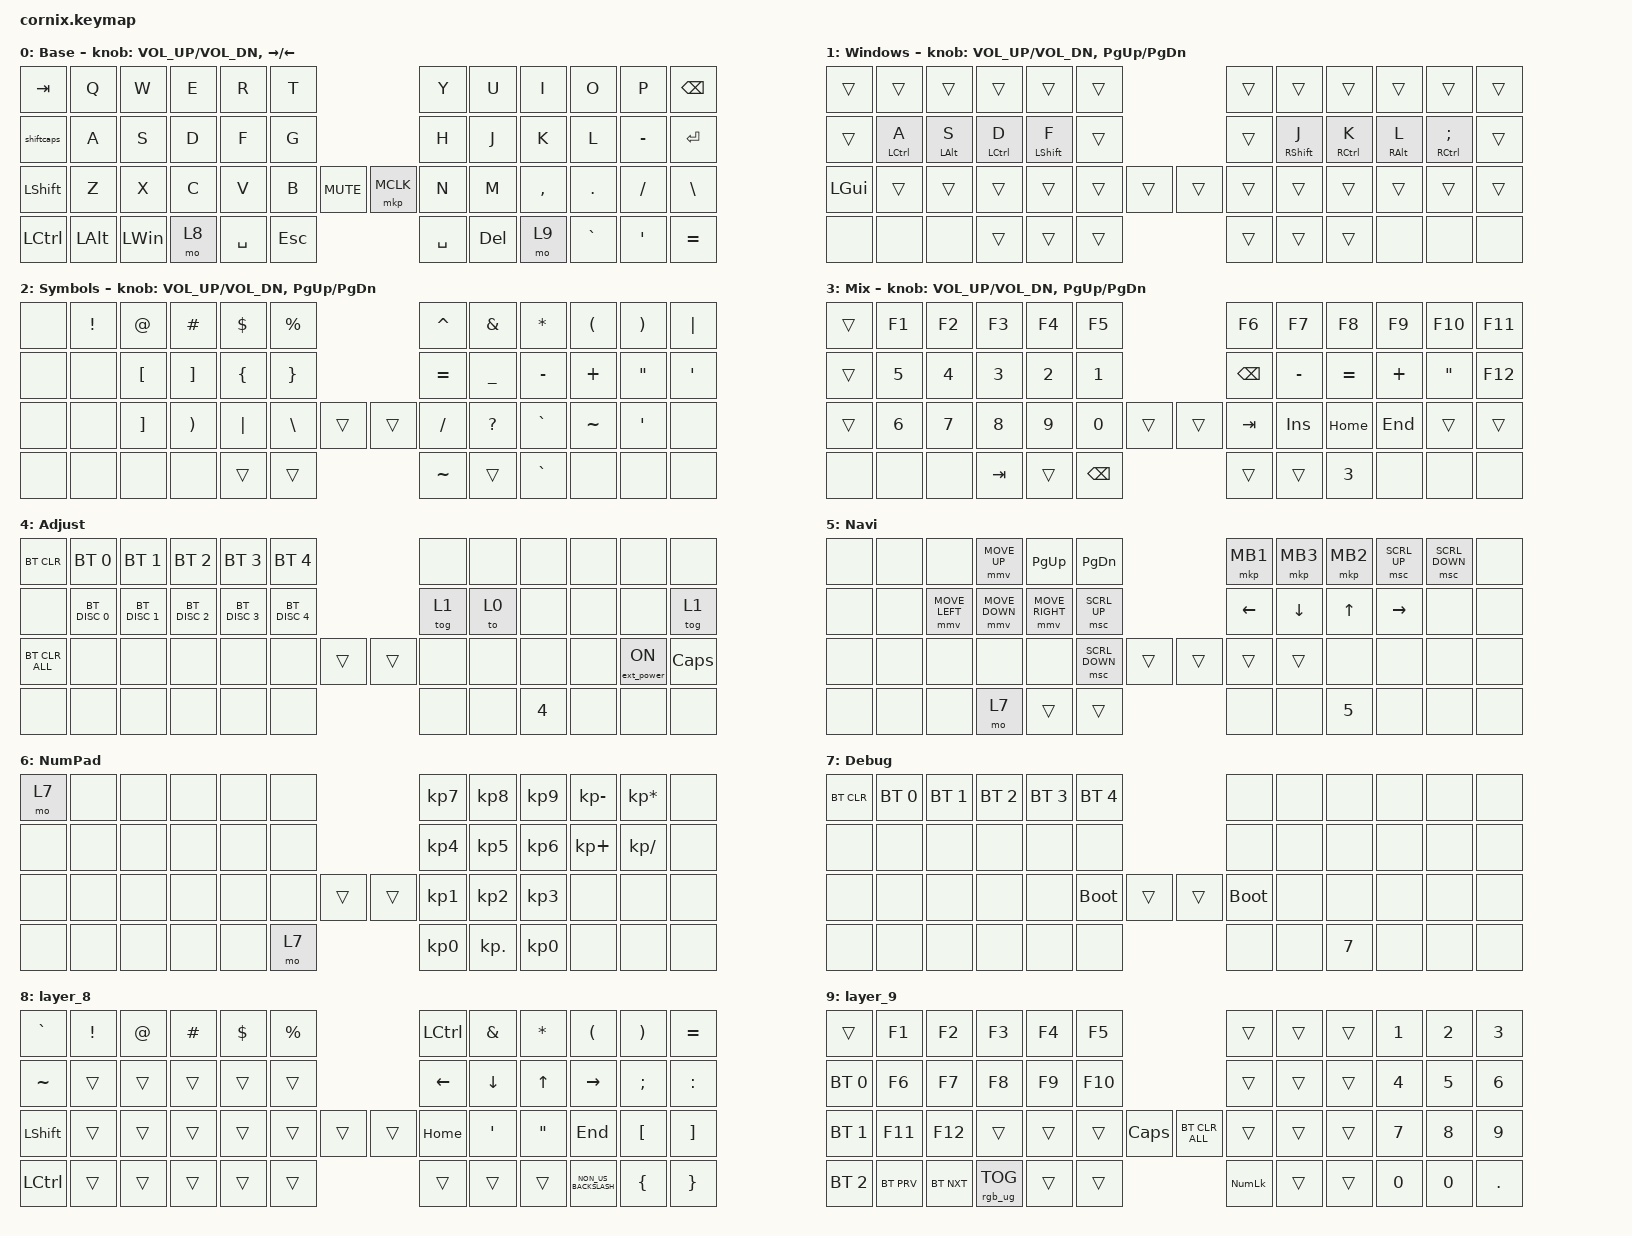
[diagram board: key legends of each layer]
/*
 * Copyright (c) 2020 The ZMK Contributors
 *
 * SPDX-License-Identifier: MIT
 */

#include "zmk-helpers/helper.h"
#include "includes/cornix54.h"

// tap windows for ctl alt and gui

#define HM_TAPPING_TERM 250
#define HM_TAPPING_REPEAT 210

// quick tapping for shift

#define HM_TAPPING_TERM_FAST 200
#define HM_PRIOR_IDLE 70
#define BASE 0
#define WIN 1
#define LOWER 2
#define RAISE 3
#define ADJUST 4
#define NAVI   5
#define NUM    6
#define DEBUG  7

// https://github.com/urob/zmk-config/tree/main#timeless-homerow-mods

#define KEYS_L LT0 LT1 LT2 LT3 LT4 LT5 LM0 LM1 LM2 LM3 LM4 LM5 LB0 LB1 LB2 LB3 LB4 LB5  // left hand
#define KEYS_R RT0 RT1 RT2 RT3 RT4 RT5 RM0 RM1 RM2 RM3 RM4 RM5 RB0 RB1 RB2 RB3 RB4 RB5  // right hand
#define THUMBS LH1 LH0 RH0 RH1
#define KEYS_T LH1 LH0 RH0 RH1
#define ZMK_POINTING_DEFAULT_SCRL_VAL 15

#include <behaviors.dtsi>
#include <dt-bindings/zmk/bt.h>
#include <dt-bindings/zmk/ext_power.h>
#include <dt-bindings/zmk/keys.h>
#include <dt-bindings/zmk/pointing.h>
#include <dt-bindings/zmk/rgb.h>

/ {
    // Activate ADJUST layer by pressing raise and lower

    behaviors {
        hm_l: homerow_mods_left {
            compatible = "zmk,behavior-hold-tap";
            #binding-cells = <2>;
            bindings = <&kp>, <&kp>;

            flavor = "balanced";
            tapping-term-ms = <HM_TAPPING_TERM>;
            quick-tap-ms = <200>;                // repeat on tap-into-hold
            require-prior-idle-ms = <HM_PRIOR_IDLE>;
            hold-trigger-key-positions = <KEYS_R KEYS_T>;
            hold-trigger-on-release;
        };

        hm_r: homerow_mods_right {
            compatible = "zmk,behavior-hold-tap";
            #binding-cells = <2>;
            bindings = <&kp>, <&kp>;

            flavor = "balanced";
            tapping-term-ms = <HM_TAPPING_TERM>;
            quick-tap-ms = <200>;
            require-prior-idle-ms = <HM_PRIOR_IDLE>;
            hold-trigger-key-positions = <KEYS_L KEYS_T>;
            hold-trigger-on-release;
        };

        // Positional Homerow mods for shift
        // Use faster tapping term and disable some features that may
        // cause false negatives.

        hm_shift_l: hm_shift_l {
            compatible = "zmk,behavior-hold-tap";
            #binding-cells = <2>;
            bindings = <&kp>, <&kp>;

            //flavor = "balanced";

            flavor = "balanced";
            tapping-term-ms = <HM_TAPPING_TERM_FAST>;
            quick-tap-ms = <200>;
            require-prior-idle-ms = <HM_PRIOR_IDLE>;
            hold-trigger-key-positions = <KEYS_R KEYS_T>;
            hold-trigger-on-release;
        };

        hm_shift_r: hm_shift_r {
            compatible = "zmk,behavior-hold-tap";
            #binding-cells = <2>;
            bindings = <&kp>, <&kp>;

            flavor = "balanced";
            tapping-term-ms = <HM_TAPPING_TERM_FAST>;
            quick-tap-ms = <200>;
            require-prior-idle-ms = <HM_PRIOR_IDLE>;
            hold-trigger-key-positions = <KEYS_L KEYS_T>;

            // for quick tapping; shift+~

            hold-trigger-on-release;
        };

        /*
         * Non-Positional Homerow Mods
         * Used for &mm_grescm_gui behavior on left hand.
         *
         * Usage: &hm LSHFT T
         * Tap: T
         * Tap-Tap-Hold: Repeat T
         * Hold: LSHIFT
         */

        hm: homerow_mods {
            compatible = "zmk,behavior-hold-tap";
            #binding-cells = <2>;
            bindings = <&kp>, <&kp>;

            flavor = "balanced";
            tapping-term-ms = <HM_TAPPING_TERM>;
            quick-tap-ms = <200>;
        };

        lt: layer_tap {
            compatible = "zmk,behavior-hold-tap";
            #binding-cells = <2>;
            bindings = <&mo>, <&kp>;

            flavor = "hold-preferred";
            tapping-term-ms = <HM_TAPPING_TERM>;
            quick-tap-ms = <200>;
        };
    };

    conditional_layers {
        compatible = "zmk,conditional-layers";

        adjust_layer {
            if-layers = <3 2>;
            then-layer = <4>;
        };
    };

    combos {
        compatible = "zmk,combos";

        cb_ltm {
            bindings = <&kp ESC>;
            key-positions = <2 4>;
            layers = <0 1>;
        };

        cb_lm {
            bindings = <&kp TAB>;
            key-positions = <14 16>;
            layers = <0 1>;
        };

        cb_enter {
            bindings = <&kp RET>;
            key-positions = <21 19>;
            layers = <0 1>;
        };

        layer3 {
            bindings = <&kp N3>;
            key-positions = <5 6>;
        };

        layer4 {
            bindings = <&kp N4>;
            key-positions = <5 6>;
        };
    };

    macros {
        shiftcaps: shiftcaps {
            compatible = "zmk,behavior-macro";
            #binding-cells = <0>;
            bindings =
                <&macro_press>,
                <&kp LSHIFT>,
                <&macro_tap>,
                <&kp CAPS>,
                <&macro_release>,
                <&kp LEFT_SHIFT>;

            label = "SHIFTCAPS";
        };
    };

    keymap {
        compatible = "zmk,keymap";

        default_layer {
            display-name = "Base";

            // ------------------------------------------------------------------------------------------------------------
            // |   `   |  1  |  2  |  3   |  4   |  5   |                   |  6   |  7    |  8    |  9   |   0   |       |
            // |  ESC  |  Q  |  W  |  E   |  R   |  T   |                   |  Y   |  U    |  I    |  O   |   P   | BKSPC |
            // |  TAB  |  A  |  S  |  D   |  F   |  G   |                   |  H   |  J    |  K    |  L   |   ;   |   '   |
            // | SHIFT |  Z  |  X  |  C   |  V   |  B   |  MUTE  |  |       |  N   |  M    |  ,    |  .   |   /   | SHIFT |
            //               | GUI | ALT  | CTRL | LOWER|  ENTER |  | SPACE | RAISE| CTRL  | ALT   | GUI  |

            bindings = <
&kp TAB         &kp Q         &kp W         &kp E  &kp R      &kp T                           &kp Y      &kp U    &kp I      &kp O      &kp P      &kp BACKSPACE
&shiftcaps      &kp A         &kp S         &kp D  &kp F      &kp G                           &kp H      &kp J    &kp K      &kp L      &kp MINUS  &kp ENTER
&kp LEFT_SHIFT  &kp Z         &kp X         &kp C  &kp V      &kp B    &kp C_MUTE  &mkp MCLK  &kp N      &kp M    &kp COMMA  &kp DOT    &kp FSLH   &kp BSLH
&kp LCTRL       &kp LEFT_ALT  &kp LEFT_WIN  &mo 8  &kp SPACE  &kp ESC                         &kp SPACE  &kp DEL  &mo 9      &kp GRAVE  &kp SQT    &kp EQUAL
            >;

            sensor-bindings =
                <&inc_dec_kp C_VOL_UP C_VOL_DN>,
                <&inc_dec_kp RIGHT LEFT>;
        };

        win_layer {
            display-name = "Windows";

            // ------------------------------------------------------------------------------------------------------------
            // |   `   |  1  |  2  |  3   |  4   |  5   |                   |  6   |  7    |  8    |  9   |   0   |       |
            // |  ESC  |  Q  |  W  |  E   |  R   |  T   |                   |  Y   |  U    |  I    |  O   |   P   | BKSPC |
            // |  TAB  |  A  |  S  |  D   |  F   |  G   |                   |  H   |  J    |  K    |  L   |   ;   |   '   |
            // | SHIFT |  Z  |  X  |  C   |  V   |  B   |  MUTE  |  |       |  N   |  M    |  ,    |  .   |   /   | SHIFT |
            //               | GUI | ALT  | CTRL | LOWER|  ENTER |  | SPACE | RAISE| CTRL  | ALT   | GUI  |

            bindings = <
&trans    &trans         &trans        &trans         &trans               &trans                  &trans  &trans               &trans         &trans        &trans            &trans
&trans    &hm_l LCTRL A  &hm_l LALT S  &hm_l LCTRL D  &hm_shift_l LSHFT F  &trans                  &trans  &hm_shift_r RSHFT J  &hm_r RCTRL K  &hm_r RALT L  &hm_r RCTRL SEMI  &trans
&kp LGUI  &trans         &trans        &trans         &trans               &trans  &trans  &trans  &trans  &trans               &trans         &trans        &trans            &trans
&none     &none          &none         &trans         &trans               &trans                  &trans  &trans               &trans         &none         &none             &none
            >;

            sensor-bindings = <&inc_dec_kp C_VOL_UP C_VOL_DN &inc_dec_kp PG_UP PG_DN>;
        };

        Symbol_layer {
            display-name = "Symbols";

            // TODO: Some binds are waiting for shifted keycode support.
            // -------------------------------
            // |       |  F1 |  F2 |  F3  |  F4  |  F5  |                   |  F6  |  F7   |  F8   |  F9  |  F10  |  F11  |
            // |   `   |  1  |  2  |  3   |  4   |  5   |                   |  6   |  7    |  8    |  9   |   0   |  F12  |
            // |       |  !  |  @  |  #   |  $   |  %   |                   |  ^   |  &    |  *    |  (   |   )   |   |   |
            // |       |  =  |  -  |  +   |  {   |  }   |        |  |       |  [   |  ]    |  ;    |  :   |   \   |       |
            //               |     |      |      |      |        |  |       |      |       |       |      |

            bindings = <
&none  &kp EXCL  &kp AT    &kp HASH  &kp DLLR  &kp PRCNT                  &kp CARET  &kp AMPS      &kp ASTRK  &kp LPAR   &kp RPAR  &kp PIPE
&none  &none     &kp LBKT  &kp RBKT  &kp LBRC  &kp RBRC                   &kp EQUAL  &kp UNDER     &kp MINUS  &kp PLUS   &kp DQT   &kp SQT
&none  &none     &kp RBKT  &kp RPAR  &kp PIPE  &kp BSLH   &trans  &trans  &kp FSLH   &kp QUESTION  &kp GRAVE  &kp TILDE  &kp SQT   &none
&none  &none     &none     &none     &trans    &trans                     &kp TILDE  &trans        &kp GRAVE  &none      &none     &none
            >;

            sensor-bindings = <&inc_dec_kp C_VOL_UP C_VOL_DN &inc_dec_kp PG_UP PG_DN>;
        };

        Mix_layer {
            display-name = "Mix";

            // ------------------------------------------------------------------------------------------------------------
            // | BTCLR | BT1  | BT2  |  BT3  |  BT4  |  BT5 |                |      |      |       |      |       |       |
            // |       | INS  | PSCR | GUI   |       |      |                | PGUP |      |   ^   |      |       |       |
            // |       | ALT  | CTRL | SHIFT |       | CAPS |                | PGDN |   <- |   v   |  ->  |  DEL  | BKSPC |
            // |       | UNDO | CUT  | COPY  | PASTE |      |      |  |      |      |      |       |      |       |       |
            //                |      |       |       |      |      |  |      |      |      |       |      |

            bindings = <
&trans  &kp F1  &kp F2  &kp F3   &kp F4  &kp F5                         &kp F6    &kp F7     &kp F8     &kp F9    &kp F10  &kp F11
&trans  &kp N5  &kp N4  &kp N3   &kp N2  &kp N1                         &kp BSPC  &kp MINUS  &kp EQUAL  &kp PLUS  &kp DQT  &kp F12
&trans  &kp N6  &kp N7  &kp N8   &kp N9  &kp N0         &trans  &trans  &kp TAB   &kp INS    &kp HOME   &kp END   &trans   &trans
&none   &none   &none   &kp TAB  &trans  &kp BACKSPACE                  &trans    &trans     &kp N3     &none     &none    &none
            >;

            sensor-bindings = <&inc_dec_kp C_VOL_UP C_VOL_DN &inc_dec_kp PG_UP PG_DN>;
        };

        Adjust_layer {
            display-name = "Adjust";

            // ----------------------------------------------------------------------------------------------------------------------------
            // | BTCLR  |  BT1    |  BT2    |   BT3   |   BT4   |   BT5   |                  |      |      |       |      |       |       |
            // | moDEBUG| RGB_HUD | RGB_HUI | RGB_SAD | RGB_SAI | RGB_EFF |                  |      |      |       |      |       |       |
            // | EXTPWR | RGB_BRD | RGB_BRI |         |         |         |                  |      |      |       |      |       |       |
            // |        |         |         |         |         |         | RGB_TOG | |      |      |      |       |      |       |       |
            //                    |         |         |         |         |         | |      |      |      |       |      |

            bindings = <
&bt BT_CLR      &bt BT_SEL 0   &bt BT_SEL 1   &bt BT_SEL 2   &bt BT_SEL 3   &bt BT_SEL 4                   &none   &none  &none   &none  &none             &none
&none           &bt BT_DISC 0  &bt BT_DISC 1  &bt BT_DISC 2  &bt BT_DISC 3  &bt BT_DISC 4                  &tog 1  &to 0  &none   &none  &none             &tog 1
&bt BT_CLR_ALL  &none          &none          &none          &none          &none          &trans  &trans  &none   &none  &none   &none  &ext_power EP_ON  &kp CAPSLOCK
&none           &none          &none          &none          &none          &none                          &none   &none  &kp N4  &none  &none             &none
            >;
        };

        Navi_layer {
            display-name = "Navi";
            bindings = <
&none  &none  &none           &mmv MOVE_UP    &kp PAGE_UP      &kp PAGE_DOWN                   &mkp MB1  &mkp MB3  &mkp MB2  &msc SCRL_UP  &msc SCRL_DOWN  &none
&none  &none  &mmv MOVE_LEFT  &mmv MOVE_DOWN  &mmv MOVE_RIGHT  &msc SCRL_UP                    &kp LEFT  &kp DOWN  &kp UP    &kp RIGHT     &none           &none
&none  &none  &none           &none           &none            &msc SCRL_DOWN  &trans  &trans  &trans    &trans    &none     &none         &none           &none
&none  &none  &none           &mo 7           &trans           &trans                          &none     &none     &kp N5    &none         &none           &none
            >;
        };

        KeyPad_layer {
            display-name = "NumPad";
            bindings = <
&mo 7  &none  &none  &none  &none  &none                  &kp KP_N7        &kp KP_N8        &kp KP_N9        &kp KP_MINUS  &kp KP_MULTIPLY  &none
&none  &none  &none  &none  &none  &none                  &kp KP_NUMBER_4  &kp KP_NUMBER_5  &kp KP_N6        &kp KP_PLUS   &kp KP_DIVIDE    &none
&none  &none  &none  &none  &none  &none  &trans  &trans  &kp KP_NUMBER_1  &kp KP_NUMBER_2  &kp KP_N3        &none         &none            &none
&none  &none  &none  &none  &none  &mo 7                  &kp KP_N0        &kp KP_DOT       &kp KP_NUMBER_0  &none         &none            &none
            >;
        };

        Debug_layer {
            display-name = "Debug";

            // ----------------------------------------------------------------------------------------------------------------------------
            // | BTCLR  |  BT1    |  BT2    |   BT3   |   BT4   |   BT5   |                  |      |      |       |      |       |       |
            // | EXTPWR | BTCLR | RGB_HUI | RGB_SAD | RGB_SAI | RGB_EFF |                  |      |      |       |      |       |       |
            // |        | RGB_BRD | RGB_BRI |         |         |         |                  |      |      |       |      |       |       |
            // |        |         |         |         |         |         | RGB_TOG | |      |      |      |       |      |       |       |
            //                    |         |         |         |         |         | |      |      |      |       |      |

            bindings = <
&bt BT_CLR  &bt BT_SEL 0  &bt BT_SEL 1  &bt BT_SEL 2  &bt BT_SEL 3  &bt BT_SEL 4                  &none        &none  &none   &none  &none  &none
&none       &none         &none         &none         &none         &none                         &none        &none  &none   &none  &none  &none
&none       &none         &none         &none         &none         &bootloader   &trans  &trans  &bootloader  &none  &none   &none  &none  &none
&none       &none         &none         &none         &none         &none                         &none        &none  &kp N7  &none  &none  &none
            >;
        };

        layer_8 {
            bindings = <
&kp GRAVE       &kp EXCLAMATION  &kp AT_SIGN  &kp HASH  &kp DOLLAR  &kp PERCENT                  &kp LCTRL  &kp AMPERSAND  &kp ASTERISK       &kp LEFT_PARENTHESIS  &kp RIGHT_PARENTHESIS  &kp EQUAL
&kp TILDE       &trans           &trans       &trans    &trans      &trans                       &kp LEFT   &kp DOWN       &kp UP             &kp RIGHT             &kp SEMICOLON          &kp COLON
&kp LEFT_SHIFT  &trans           &trans       &trans    &trans      &trans       &trans  &trans  &kp HOME   &kp SQT        &kp DOUBLE_QUOTES  &kp END               &kp LEFT_BRACKET       &kp RIGHT_BRACKET
&kp LCTRL       &trans           &trans       &trans    &trans      &trans                       &trans     &trans         &trans             &kp NON_US_BACKSLASH  &kp LEFT_BRACE         &kp RIGHT_BRACE
            >;
        };

        layer_9 {
            bindings = <
&trans        &kp F1      &kp F2      &kp F3           &kp F4  &kp F5                             &trans          &trans  &trans  &kp NUMBER_1  &kp NUMBER_2  &kp NUMBER_3
&bt BT_SEL 0  &kp F6      &kp F7      &kp F8           &kp F9  &kp F10                            &trans          &trans  &trans  &kp NUMBER_4  &kp N5        &kp NUMBER_6
&bt BT_SEL 1  &kp F11     &kp F12     &trans           &trans  &trans   &kp CAPS  &bt BT_CLR_ALL  &trans          &trans  &trans  &kp N7        &kp N8        &kp N9
&bt BT_SEL 2  &bt BT_PRV  &bt BT_NXT  &rgb_ug RGB_TOG  &trans  &trans                             &kp KP_NUMLOCK  &trans  &trans  &kp N0        &kp N0        &kp PERIOD
            >;
        };
    };
};
